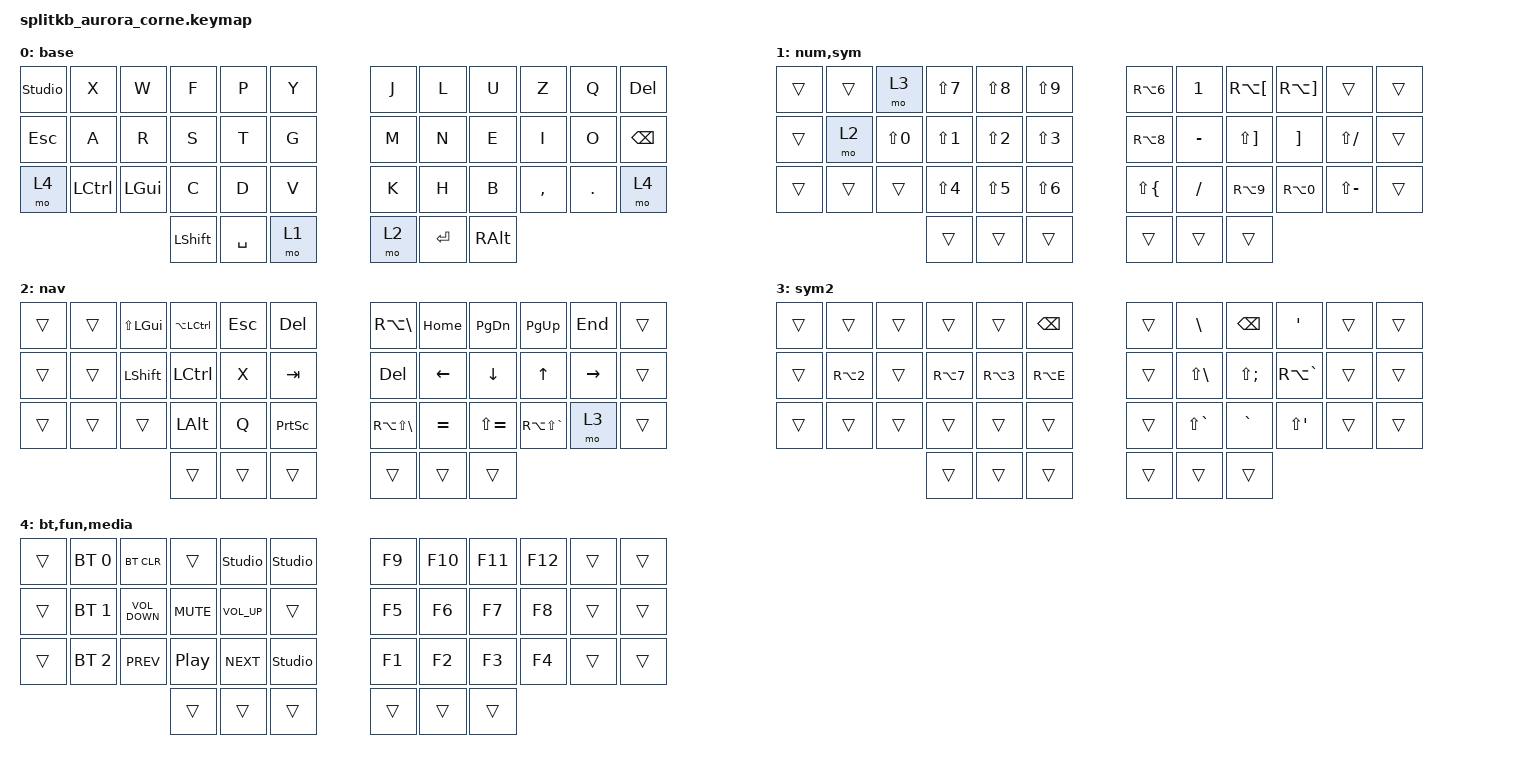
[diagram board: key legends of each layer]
/*
 * Copyright (c) 2020 The ZMK Contributors
 *
 * SPDX-License-Identifier: MIT
 */

#include <behaviors.dtsi>
#include <dt-bindings/zmk/bt.h>
#include <dt-bindings/zmk/keys.h>

/ {
    keymap {
        compatible = "zmk,keymap";

        base {
            // -----------------------------------------------------------------------------------------
            // |  TAB |  Q  |  W  |  E  |  R  |  T  |   |  Y  |  U   |  I  |  O  |  P  | BSPC |
            // | CTRL |  A  |  S  |  D  |  F  |  G  |   |  H  |  J   |  K  |  L  |  ;  |  '   |
            // | SHFT |  Z  |  X  |  C  |  V  |  B  |   |  N  |  M   |  ,  |  .  |  /  | ESC  |
            //                    | GUI | LWR | SPC |   | ENT | RSE  | ALT |

            bindings = <
&studio_unlock  &kp X      &kp W         &kp F      &kp P      &kp Y    &kp J  &kp L      &kp U     &kp Z      &kp Q       &kp DELETE
&kp ESCAPE      &kp A      &kp R         &kp S      &kp T      &kp G    &kp M  &kp N      &kp E     &kp I      &kp O       &kp BACKSPACE
&mo 4           &kp LCTRL  &kp LEFT_GUI  &kp C      &kp D      &kp V    &kp K  &kp H      &kp B     &kp COMMA  &kp PERIOD  &mo 4
                                         &kp LSHFT  &kp SPACE  &mo 1    &mo 2  &kp ENTER  &kp RALT
            >;

            label = "base";
        };

        num,sym {
            // -----------------------------------------------------------------------------------------
            // |  TAB |  1  |  2  |  3  |  4  |  5  |   |  6  |  7  |  8  |  9  |  0  | BSPC |
            // | BTCLR| BT1 | BT2 | BT3 | BT4 | BT5 |   | LFT | DWN |  UP | RGT |     | studio unlock     |
            // | SHFT |     |     |     |     |     |   |     |     |     |     |     |      |
            //                    | GUI |     | SPC |   | ENT |     | ALT |

            bindings = <
&trans  &trans  &mo 3             &kp LS(N7)  &kp LS(N8)  &kp LS(N9)    &kp RA(NUMBER_6)    &kp NUMBER_1  &kp RA(LBKT)      &kp RA(RBKT)      &trans         &trans
&trans  &mo 2   &kp LS(NUMBER_0)  &kp LS(N1)  &kp LS(N2)  &kp LS(N3)    &kp RA(NUMBER_8)    &kp MINUS     &kp LS(RBKT)      &kp RBKT          &kp LS(SLASH)  &trans
&trans  &trans  &trans            &kp LS(N4)  &kp LS(N5)  &kp LS(N6)    &kp LS(LEFT_BRACE)  &kp SLASH     &kp RA(NUMBER_9)  &kp RA(NUMBER_0)  &kp LS(MINUS)  &trans
                                  &trans      &trans      &trans        &trans              &trans        &trans
            >;

            label = "num,sym";
        };

        nav {
            // -----------------------------------------------------------------------------------------
            // |  TAB |  !  |  @  |  #  |  $  |  %  |   |  ^  |  &  |  *  |  (  |  )  | BSPC |
            // | CTRL |     |     |     |     |     |   |  -  |  =  |  [  |  ]  |  \  |  `   |
            // | SHFT |     |     |     |     |     |   |  _  |  +  |  {  |  }  | "|" |  ~   |
            //                    | GUI |     | SPC |   | ENT |     | ALT |

            bindings = <
&trans  &trans  &kp LS(LEFT_GUI)  &kp LA(LCTRL)  &kp ESCAPE  &kp DELETE         &kp RA(BACKSLASH)      &kp HOME   &kp PG_DN      &kp PG_UP          &kp END    &trans
&trans  &trans  &kp LSHFT         &kp LCTRL      &kp X       &kp TAB            &kp DELETE             &kp LEFT   &kp DOWN       &kp UP             &kp RIGHT  &trans
&trans  &trans  &trans            &kp LALT       &kp Q       &kp PRINTSCREEN    &kp RA(LS(BACKSLASH))  &kp EQUAL  &kp LS(EQUAL)  &kp RA(LS(GRAVE))  &mo 3      &trans
                                  &trans         &trans      &trans             &trans                 &trans     &trans
            >;

            label = "nav";
        };

        sym2 {
            bindings = <
&trans  &trans            &trans  &trans            &trans            &kp BACKSPACE    &trans  &kp BACKSLASH      &kp BACKSPACE      &kp SINGLE_QUOTE      &trans  &trans
&trans  &kp RA(NUMBER_2)  &trans  &kp RA(NUMBER_7)  &kp RA(NUMBER_3)  &kp RA(E)        &trans  &kp LS(BACKSLASH)  &kp LS(SEMICOLON)  &kp RA(GRAVE)         &trans  &trans
&trans  &trans            &trans  &trans            &trans            &trans           &trans  &kp LS(GRAVE)      &kp GRAVE          &kp LS(SINGLE_QUOTE)  &trans  &trans
                                  &trans            &trans            &trans           &trans  &trans             &trans
            >;

            label = "sym2";
        };

        bt,fun,media {
            bindings = <
&trans  &bt BT_SEL 0  &bt BT_CLR         &trans            &studio_unlock   &studio_unlock    &kp F9  &kp F10  &kp F11  &kp F12  &trans  &trans
&trans  &bt BT_SEL 1  &kp C_VOLUME_DOWN  &kp C_MUTE        &kp C_VOLUME_UP  &trans            &kp F5  &kp F6   &kp F7   &kp F8   &trans  &trans
&trans  &bt BT_SEL 2  &kp C_PREV         &kp C_PLAY_PAUSE  &kp C_NEXT       &studio_unlock    &kp F1  &kp F2   &kp F3   &kp F4   &trans  &trans
                                         &trans            &trans           &trans            &trans  &trans   &trans
            >;

            label = "bt,fun,media";
        };
    };
};
